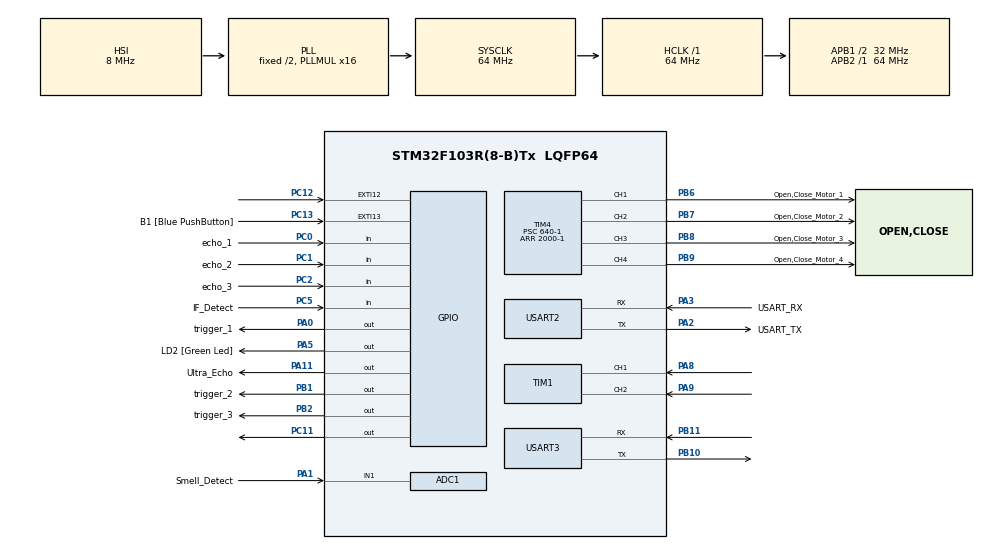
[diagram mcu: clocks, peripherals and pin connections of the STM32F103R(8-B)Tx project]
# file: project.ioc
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ADC1.Channel-0\#ChannelRegularConversion=ADC_CHANNEL_1
ADC1.NbrOfConversionFlag=1
ADC1.Rank-0\#ChannelRegularConversion=1
ADC1.SamplingTime-0\#ChannelRegularConversion=ADC_SAMPLETIME_1CYCLE_5
ADC1.master=1
Mcu.Family=STM32F1
Mcu.Name=STM32F103R(8-B)Tx
Mcu.Package=LQFP64
NVIC.EXTI15_10_IRQn=true\:0\:0\:false\:false\:true\:true\:true\:true
NVIC.PriorityGroup=NVIC_PRIORITYGROUP_4
NVIC.TIM2_IRQn=true\:0\:0\:false\:false\:true\:true\:true\:true
NVIC.TIM3_IRQn=true\:0\:0\:false\:false\:true\:true\:true\:true
NVIC.TIM4_IRQn=true\:0\:0\:false\:false\:true\:true\:true\:true
NVIC.USART2_IRQn=true\:0\:0\:false\:false\:true\:true\:true\:true
NVIC.USART3_IRQn=true\:0\:0\:false\:false\:true\:true\:true\:true
PA0-WKUP.GPIO_Label=trigger_1
PA0-WKUP.Signal=GPIO_Output
PA1.GPIO_Label=Smell_Detect
PA1.Signal=ADCx_IN1
PA11.GPIO_Label=Ultra_Echo
PA11.Signal=GPIO_Output
PA13.GPIO_Label=TMS
PA13.Mode=Serial_Wire
PA13.Signal=SYS_JTMS-SWDIO
PA14.GPIO_Label=TCK
PA14.Mode=Serial_Wire
PA14.Signal=SYS_JTCK-SWCLK
PA2.GPIO_Label=USART_TX
PA2.GPIO_Mode=GPIO_MODE_AF_PP
PA2.GPIO_PuPd=GPIO_NOPULL
PA2.GPIO_Speed=GPIO_SPEED_FREQ_LOW
PA2.Mode=Asynchronous
PA2.Signal=USART2_TX
PA3.GPIO_Label=USART_RX
PA3.GPIO_Mode=GPIO_MODE_AF_PP
PA3.GPIO_PuPd=GPIO_NOPULL
PA3.GPIO_Speed=GPIO_SPEED_FREQ_LOW
PA3.Mode=Asynchronous
PA3.Signal=USART2_RX
PA5.GPIO_Label=LD2 [Green Led]
PA5.GPIO_ModeDefaultOutputPP=GPIO_MODE_OUTPUT_PP
PA5.GPIO_PuPd=GPIO_NOPULL
PA5.GPIO_Speed=GPIO_SPEED_FREQ_LOW
PA5.Signal=GPIO_Output
PA8.Signal=S_TIM1_CH1
PA9.Signal=S_TIM1_CH2
PB1.GPIO_Label=trigger_2
PB1.Signal=GPIO_Output
PB10.Mode=Asynchronous
PB10.Signal=USART3_TX
PB11.Mode=Asynchronous
PB11.Signal=USART3_RX
PB2.GPIO_Label=trigger_3
PB2.Signal=GPIO_Output
PB3.GPIO_Label=SWO
PB3.Signal=SYS_JTDO-TRACESWO
PB6.GPIO_Label=Open,Close_Motor_1
PB6.Signal=S_TIM4_CH1
PB7.GPIO_Label=Open,Close_Motor_2
PB7.Signal=S_TIM4_CH2
PB8.GPIO_Label=Open,Close_Motor_3
PB8.Signal=S_TIM4_CH3
PB9.GPIO_Label=Open,Close_Motor_4
PB9.Signal=S_TIM4_CH4
PC0.GPIO_Label=echo_1
PC0.Signal=GPIO_Input
PC1.GPIO_Label=echo_2
PC1.Signal=GPIO_Input
PC11.Signal=GPIO_Output
PC12.GPIO_ModeDefaultEXTI=GPIO_MODE_IT_RISING_FALLING
PC12.Signal=GPXTI12
PC13-TAMPER-RTC.GPIO_Label=B1 [Blue PushButton]
PC13-TAMPER-RTC.GPIO_PuPd=GPIO_NOPULL
PC13-TAMPER-RTC.Signal=GPXTI13
PC14-OSC32_IN.Mode=LSE-External-Oscillator
PC14-OSC32_IN.Signal=RCC_OSC32_IN
PC15-OSC32_OUT.Mode=LSE-External-Oscillator
PC15-OSC32_OUT.Signal=RCC_OSC32_OUT
PC2.GPIO_Label=echo_3
PC2.Signal=GPIO_Input
PC5.GPIO_Label=IF_Detect
PC5.Signal=GPIO_Input
PD0-OSC_IN.Mode=HSE-External-Clock-Source
PD0-OSC_IN.Signal=RCC_OSC_IN
PD1-OSC_OUT.Mode=HSE-External-Clock-Source
PD1-OSC_OUT.Signal=RCC_OSC_OUT
ProjectManager.HeapSize=0x200
ProjectManager.StackSize=0x400
ProjectManager.TargetToolchain=STM32CubeIDE
RCC.ADCPresc=RCC_ADCPCLK2_DIV6
RCC.AHBFreq_Value=64000000
RCC.APB1CLKDivider=RCC_HCLK_DIV2
RCC.APB1Freq_Value=32000000
RCC.APB1TimFreq_Value=64000000
RCC.APB2Freq_Value=64000000
RCC.APB2TimFreq_Value=64000000
RCC.HCLKFreq_Value=64000000
RCC.PLLMUL=RCC_PLL_MUL16
RCC.RTCClockSelection=RCC_RTCCLKSOURCE_LSE
RCC.SYSCLKFreq_VALUE=64000000
RCC.SYSCLKSource=RCC_SYSCLKSOURCE_PLLCLK
RCC.USBFreq_Value=64000000
SH.ADCx_IN1.0=ADC1_IN1,IN1
SH.S_TIM1_CH1.0=TIM1_CH1,Input_Capture1_from_TI1
SH.S_TIM1_CH2.0=TIM1_CH2,Input_Capture2_from_TI2
SH.S_TIM4_CH1.0=TIM4_CH1,PWM Generation1 CH1
SH.S_TIM4_CH2.0=TIM4_CH2,PWM Generation2 CH2
SH.S_TIM4_CH3.0=TIM4_CH3,PWM Generation3 CH3
SH.S_TIM4_CH4.0=TIM4_CH4,PWM Generation4 CH4
TIM1.Channel-Input_Capture1_from_TI1=TIM_CHANNEL_1
TIM1.Channel-Input_Capture2_from_TI2=TIM_CHANNEL_2
TIM2.Period=1
TIM2.Prescaler=64
TIM3.Period=25
TIM3.Prescaler=64-1
TIM4.Channel-PWM\ Generation1\ CH1=TIM_CHANNEL_1
TIM4.Channel-PWM\ Generation2\ CH2=TIM_CHANNEL_2
TIM4.Channel-PWM\ Generation3\ CH3=TIM_CHANNEL_3
TIM4.Channel-PWM\ Generation4\ CH4=TIM_CHANNEL_4
TIM4.Period=2000-1
TIM4.Prescaler=640-1
TIM4.Pulse-PWM\ Generation1\ CH1=500-1
TIM4.Pulse-PWM\ Generation2\ CH2=500-1
TIM4.Pulse-PWM\ Generation3\ CH3=500-1
TIM4.Pulse-PWM\ Generation4\ CH4=500-1
USART2.VirtualMode=VM_ASYNC
USART3.VirtualMode=VM_ASYNC
VP_TIM2_VS_ClockSourceINT.Mode=Internal
VP_TIM3_VS_ClockSourceINT.Mode=Internal
board=NUCLEO-F103RB

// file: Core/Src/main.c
/* USER CODE BEGIN Header */
/**
  ******************************************************************************
  * @file           : main.c
  * @brief          : Main program body
  ******************************************************************************
  * @attention
  *
  * Copyright (c) 2022 STMicroelectronics.
  * All rights reserved.
  *
  * This software is licensed under terms that can be found in the LICENSE file
  * in the root directory of this software component.
  * If no LICENSE file comes with this software, it is provided AS-IS.
  *
  ******************************************************************************
  */
/* USER CODE END Header */
#include "main.h"

/* USER CODE BEGIN Includes */

#include "UartRingbuffer_multi.h"
#include "stdio.h"
#include "ESP8266_HAL.h"
#include "string.h"

#define INIT          0
#define SEND_TRIG     1
#define WAIT_TRIG_END 2
#define WAIT_ECHO_END 3
#define CALC_DIST     4

#ifdef __GNUC__
/* With GCC/RAISONANCE, small printf (option LD Linker->Libraries->Small printf set to 'Yes') calls __io_putchar() */
#define PUTCHAR_PROTOTYPE int __io_putchar(int ch)
#else
#define PUTCHAR_PROTOTYPE int fputc(int ch, FILE *f)
#endif /* __GNUC__ */

typedef struct ts_rxType{
	char start;
	unsigned char data;
	char parity;
	char stop;
	char error;
} rxType;

typedef struct UltraSonicObject{

}UltSonic;

/* USER CODE END Includes */

ADC_HandleTypeDef hadc1;

TIM_HandleTypeDef htim1;
TIM_HandleTypeDef htim2;
TIM_HandleTypeDef htim3;
TIM_HandleTypeDef htim4;

UART_HandleTypeDef huart2;
UART_HandleTypeDef huart3;

/* USER CODE BEGIN PV */
uint8_t curr_state, next_state;
uint8_t trig_pulse_end, echo_pulse_end;
//ultra1
char Uart_Tx_Parity_Mode;
int tim2_cnt;
char tim2_flag;
char tim2_trigger;
char chUartTxData[32];

char Uart_Rx_Parity_Mode;
rxType rxData[32];
int rxByte_cnt;
int rxBit_cnt;
int rxBit_value;
int rxSamp_cnt;
int rxParity_bit;
char Uart_Rx_flag;
char Uart_Rx_active;
char Uart_Rx_Temp;
char Uart_Rx_trigger;
char Uart_Rx_data;
char Uart_Rx_parity;
char Uart_Rx_stop;

int globalCounter = 0;

int soundModuleCounter = 0;
short isSoundModuleActive = 0;

/* USER CODE END PV */

void SystemClock_Config(void);
static void MX_GPIO_Init(void);
static void MX_USART2_UART_Init(void);
static void MX_ADC1_Init(void);
static void MX_TIM2_Init(void);
static void MX_TIM3_Init(void);
static void MX_TIM4_Init(void);
static void MX_TIM1_Init(void);
static void MX_USART3_UART_Init(void);

/* USER CODE BEGIN 0 */
PUTCHAR_PROTOTYPE//use printf in usart2
{
	/* Place your implementation of fputc here */
	/* e.g. write a character to the USART2 and Loop until the end of transmission */
	HAL_UART_Transmit(&huart2, (uint8_t *)&ch, 1, 0xFFFF);
	return ch;
}

void Uart_Tx_Byte(char TxData, char Parity)
{
	char chExit = 'n';
	char chComp = 0x01;
	int ParityBit_cnt = 0;

	tim2_cnt = 0;
	tim2_flag = 'y';
	tim2_trigger = 'n';

	while(1){
		if(('y' == tim2_trigger) && (tim2_cnt == 1))
		{ // idle
			tim2_trigger = 'n';
			HAL_GPIO_WritePin(GPIOA, GPIO_PIN_0, GPIO_PIN_SET);
		}
		else if(('y' == tim2_trigger) && (tim2_cnt == 2))
		{ // start
			tim2_trigger = 'n';
			HAL_GPIO_WritePin(GPIOA, GPIO_PIN_0, GPIO_PIN_RESET);
		}
		else if(('y' == tim2_trigger) && (tim2_cnt == 3))
		{ // bit 0
			tim2_trigger = 'n';
			if((TxData & chComp) == chComp)
			{
				HAL_GPIO_WritePin(GPIOA, GPIO_PIN_0, GPIO_PIN_SET);
				ParityBit_cnt += 1;
			}
			else
			{
				HAL_GPIO_WritePin(GPIOA, GPIO_PIN_0, GPIO_PIN_RESET);
			}
			chComp <<= 1;
		}
		else if(('y' == tim2_trigger) && (tim2_cnt == 4))
		{ // bit 1
			tim2_trigger = 'n';
			if((TxData & chComp) == chComp)
			{
				HAL_GPIO_WritePin(GPIOA, GPIO_PIN_0, GPIO_PIN_SET);
				ParityBit_cnt += 1;
			}
			else
			{
				HAL_GPIO_WritePin(GPIOA, GPIO_PIN_0, GPIO_PIN_RESET);
			}
			chComp <<= 1;
		}
		else if(('y' == tim2_trigger) && (tim2_cnt == 5))
		{ // bit 2
			tim2_trigger = 'n';
			if((TxData & chComp) == chComp)
			{
				HAL_GPIO_WritePin(GPIOA, GPIO_PIN_0, GPIO_PIN_SET);
				ParityBit_cnt += 1;
			}
			else
			{
				HAL_GPIO_WritePin(GPIOA, GPIO_PIN_0, GPIO_PIN_RESET);
			}
			chComp <<= 1;
		}
		else if(('y' == tim2_trigger) && (tim2_cnt == 6)){ // bit 3
			tim2_trigger = 'n';
			if((TxData & chComp) == chComp)
			{
				HAL_GPIO_WritePin(GPIOA, GPIO_PIN_0, GPIO_PIN_SET);
				ParityBit_cnt += 1;
			}
			else
			{
				HAL_GPIO_WritePin(GPIOA, GPIO_PIN_0, GPIO_PIN_RESET);
			}
			chComp <<= 1;
		}
		else if(('y' == tim2_trigger) && (tim2_cnt == 7))
		{ // bit 4
			tim2_trigger = 'n';
			if((TxData & chComp) == chComp)
			{
				HAL_GPIO_WritePin(GPIOA, GPIO_PIN_0, GPIO_PIN_SET);
				ParityBit_cnt += 1;
			}
			else
			{
				HAL_GPIO_WritePin(GPIOA, GPIO_PIN_0, GPIO_PIN_RESET);
			}
			chComp <<= 1;
		}
		else if(('y' == tim2_trigger) && (tim2_cnt == 8))
		{ // bit 5
			tim2_trigger = 'n';
			if((TxData & chComp) == chComp)
			{
				HAL_GPIO_WritePin(GPIOA, GPIO_PIN_0, GPIO_PIN_SET);
				ParityBit_cnt += 1;
			}
			else
			{
				HAL_GPIO_WritePin(GPIOA, GPIO_PIN_0, GPIO_PIN_RESET);
			}
			chComp <<= 1;
		}
		else if(('y' == tim2_trigger) && (tim2_cnt == 9))
		{ // bit 6
			tim2_trigger = 'n';
			if((TxData & chComp) == chComp)
			{
				HAL_GPIO_WritePin(GPIOA, GPIO_PIN_0, GPIO_PIN_SET);
				ParityBit_cnt += 1;
			}
			else
			{
				HAL_GPIO_WritePin(GPIOA, GPIO_PIN_0, GPIO_PIN_RESET);
			}
			chComp <<= 1;
		}
		else if(('y' == tim2_trigger) && (tim2_cnt == 10))
		{ // bit 7
			tim2_trigger = 'n';
			if((TxData & chComp) == chComp)
			{
				HAL_GPIO_WritePin(GPIOA, GPIO_PIN_0, GPIO_PIN_SET);
				ParityBit_cnt += 1;
			}
			else
			{
				HAL_GPIO_WritePin(GPIOA, GPIO_PIN_0, GPIO_PIN_RESET);
			}
			chComp <<= 1;
		}
		else if(('y' == tim2_trigger) && (tim2_cnt == 11))
		{ // [parity : none/even/odd] or [stop]
			tim2_trigger = 'n';
			if(Parity == 'n')
			{
				HAL_GPIO_WritePin(GPIOA, GPIO_PIN_0, GPIO_PIN_SET);
				chExit = 'y';
			}
			else if(Parity == 'e')
			{
				if((ParityBit_cnt % 2) == 0)
				{
					HAL_GPIO_WritePin(GPIOA, GPIO_PIN_0, GPIO_PIN_RESET);
				}
				else
				{
					HAL_GPIO_WritePin(GPIOA, GPIO_PIN_0, GPIO_PIN_SET);
				}
			}
			else if(Parity == 'o')
			{
				if((ParityBit_cnt % 2) == 1)
				{
					HAL_GPIO_WritePin(GPIOA, GPIO_PIN_0, GPIO_PIN_RESET);
				}
				else
				{
					HAL_GPIO_WritePin(GPIOA, GPIO_PIN_0, GPIO_PIN_SET);
				}
			}
		}
		else if(('y' == tim2_trigger) && (tim2_cnt == 12))
		{
			HAL_GPIO_WritePin(GPIOA, GPIO_PIN_0, GPIO_PIN_SET);
			chExit = 'y';
		}
		if(('y' == tim2_trigger) && ('y' == chExit))
		{
			tim2_trigger = 'n';
			tim2_flag = 'n';
			break;
		}
	}
}

void SendUltSonicCMD(char TxData, char Parity, GPIO_TypeDef PinBase, uint16_t PinNumber){

}

void HAL_TIM_PeriodElapsedCallback(TIM_HandleTypeDef *htim)
{

	if(htim->Instance == htim2.Instance){

		if(isSoundModuleActive){
			soundModuleCounter++;
		}
	}

	if(htim->Instance == htim3.Instance)
	{
		if('y' == tim2_flag)
		{
			globalCounter = globalCounter + 1;
			if(globalCounter >= 4)
			{
				tim2_cnt += 1;
				tim2_trigger = 'y';
				globalCounter = 0;
			}
			HAL_GPIO_TogglePin(GPIOA, GPIO_PIN_5);
		}
		if('y' == Uart_Rx_flag)
		{
			if('n' == Uart_Rx_active)
			{
				Uart_Rx_Temp <<= 1;
				if(GPIO_PIN_SET == HAL_GPIO_ReadPin(GPIOC, GPIO_PIN_0))
				{
					Uart_Rx_Temp += 1;
				}
				if((Uart_Rx_Temp & 0x0f) == 0x0c)
				{
					Uart_Rx_active = 'y';
					Uart_Rx_Temp = 0x00;
					rxByte_cnt += 1;
					rxData[rxByte_cnt].start = 'y';
					rxData[rxByte_cnt].data = 0x00;
					rxData[rxByte_cnt].parity = 'n';
					rxData[rxByte_cnt].stop = 'x';
					rxBit_cnt = 0;
					rxSamp_cnt = 0;
					rxParity_bit = 0;
					Uart_Rx_trigger = 'n';
					Uart_Rx_data = 'n';
					Uart_Rx_parity = 'n';
					Uart_Rx_stop = 'n';
				}
			}else{
				Uart_Rx_trigger = 'n';
				rxSamp_cnt += 1;
				if((rxSamp_cnt % 4) == 0){
					Uart_Rx_trigger = 'y';
					if(GPIO_PIN_SET == HAL_GPIO_ReadPin(GPIOC, GPIO_PIN_0)){
						rxBit_value = 1;
					}else{
						rxBit_value = 0;
					}
					rxBit_cnt += 1;
					if((1 <= rxBit_cnt) && (rxBit_cnt <= 8)){
						Uart_Rx_data = 'y';
					}else if(9 == rxBit_cnt){
						Uart_Rx_data = 'n';
						if('n' == Uart_Rx_Parity_Mode){
							Uart_Rx_parity = 'n';
							Uart_Rx_stop = 'y';
						}else if('e' == Uart_Rx_Parity_Mode){
							Uart_Rx_parity = 'y';
						}else if('o' == Uart_Rx_Parity_Mode){
							Uart_Rx_parity = 'y';
						}
					}else if(10 == rxBit_cnt){
						Uart_Rx_parity = 'n';
						Uart_Rx_stop = 'y';
					}
				}
				if(('y' == Uart_Rx_trigger) && ('y' == Uart_Rx_data)){
					rxData[rxByte_cnt].data >>= 1;
					if(1 == rxBit_value){
						rxData[rxByte_cnt].data += 0x80;
						rxParity_bit += 1;
					}
				}
				if(('y' == Uart_Rx_trigger) && ('y' == Uart_Rx_parity)){
					if('e' == Uart_Rx_Parity_Mode){
						if(((rxParity_bit % 2) == 0) && (0 == rxBit_value)){
							rxData[rxByte_cnt].parity = 'e';
						}else if(((rxParity_bit % 2) == 1) && (1 == rxBit_value)){
							rxData[rxByte_cnt].parity = 'e';
						}else{
							rxData[rxByte_cnt].parity = 'f';
						}
					}else if('o' == Uart_Rx_Parity_Mode){
						if(((rxParity_bit % 2) == 0) && (1 == rxBit_value)){
							rxData[rxByte_cnt].parity = 'o';

						}else if(((rxParity_bit % 2) == 1) && (0 == rxBit_value)){
							rxData[rxByte_cnt].parity = 'o';
						}else{
							rxData[rxByte_cnt].parity = 'f';
						}
					}
				}
				if(('y' == Uart_Rx_trigger) && ('y' == Uart_Rx_stop)){
					Uart_Rx_active = 'n';
					if(1 == rxBit_value){
						rxData[rxByte_cnt].stop = 'y';
					}else{
						rxData[rxByte_cnt].stop = 'n';
					}
				}
			}
		}
	}
}

void HAL_GPIO_EXTI_Callback(uint16_t GPIO_PIN){
	if(GPIO_PIN == GPIO_PIN_12){
		if(HAL_GPIO_ReadPin(GPIOC, GPIO_PIN_12)){
			isSoundModuleActive = 1;
		}else{
			isSoundModuleActive = 0;

			printf("Test Length : %d\r\n", soundModuleCounter);
			scanIF(soundModuleCounter);
			soundModuleCounter = 0;
		}
	}
}

void runUS100(void){
	printf("running US-100\r\n");

	HAL_GPIO_WritePin(GPIOC, GPIO_PIN_11, GPIO_PIN_SET);
	HAL_Delay(1);
	HAL_GPIO_WritePin(GPIOC, GPIO_PIN_11, GPIO_PIN_RESET);
}

/* USER CODE END 0 */

int main(void)
{
  /* USER CODE BEGIN 1 */
	  int count;
	  int smell;
	  int resultDistance;
	  int resultDistance2;
	  int resultDistance3;

	HAL_StatusTypeDef tim3_it_start;
	HAL_StatusTypeDef tim2_it_start;

  /* USER CODE END 1 */

  /* MCU Configuration--------------------------------------------------------*/

  /* Reset of all peripherals, Initializes the Flash interface and the Systick. */
  HAL_Init();

  /* Configure the system clock */
  SystemClock_Config();

  /* Initialize all configured peripherals */
  MX_GPIO_Init();
  MX_USART2_UART_Init();
  MX_ADC1_Init();
  MX_TIM2_Init();
  MX_TIM3_Init();
  MX_TIM4_Init();
  MX_TIM1_Init();
  MX_USART3_UART_Init();
  /* USER CODE BEGIN 2 */

	ESP_Init("wifiSSID","wifiPassword");

  Uart_Rx_Parity_Mode = 'n'; // 'n':none, 'e':even, 'o':odd
  rxByte_cnt = 0;
  rxBit_cnt = 0;
  rxSamp_cnt = 0;
  Uart_Rx_flag = 'n';
  Uart_Rx_active = 'n';
  Uart_Rx_Temp = 0x00;

  Uart_Tx_Parity_Mode = 'n'; // 'n':none, 'e':even, 'o':odd
  tim2_cnt = 0;
  tim2_flag = 'n';
  tim2_trigger = 'n';

  HAL_GPIO_WritePin(GPIOA, GPIO_PIN_0, GPIO_PIN_SET);

  tim3_it_start = HAL_TIM_Base_Start_IT(&htim3);
  tim2_it_start = HAL_TIM_Base_Start_IT(&htim2);

  if((HAL_OK == tim3_it_start) && (HAL_OK == tim2_it_start))
  {
	  printf("HAL_TIM_Base_Start_IT OK\r\n");
  }
  else
  {
	  printf("HAL_TIM_Base_Start_IT error\r\n");
  }
  chUartTxData[0] = 'a';
  Uart_Rx_flag = 'y';
  Uart_Rx_active = 'n';

  HAL_TIM_PWM_Start(&htim4,TIM_CHANNEL_1);
  HAL_TIM_PWM_Start(&htim4,TIM_CHANNEL_2);
  HAL_TIM_PWM_Start(&htim4,TIM_CHANNEL_3);
  HAL_TIM_PWM_Start(&htim4,TIM_CHANNEL_4);

	HAL_GPIO_WritePin(GPIOC, GPIO_PIN_11, GPIO_PIN_RESET);
	HAL_GPIO_WritePin(GPIOC, GPIO_PIN_12, GPIO_PIN_RESET);

  /* USER CODE END 2 */

  /* Infinite loop */
  while (1)
  {

    /* USER CODE BEGIN 3 */

		scanTrashcan();
		runUS100();

	  HAL_Delay(100);
	  Uart_Tx_Byte(0x55, 'n');
	  if(('n' == Uart_Rx_active) && (1 <= rxByte_cnt))
	  {
		  resultDistance = (rxData[1].data << 8) + rxData[2].data;
		  printf("resultDistance : %d mm\r\n", resultDistance);
		  rxByte_cnt = 0;
	  }
	  HAL_Delay(100);

	  HAL_ADC_Start(&hadc1);

	  if(resultDistance <= 500)//auto_open,close
	  {
		    __HAL_TIM_SetCompare(&htim4, TIM_CHANNEL_2, 50);//open_motor 2(PB7)
			__HAL_TIM_SetCompare(&htim4, TIM_CHANNEL_1, 200);//open_motor 1(PB6)
			HAL_Delay(3000);
		    __HAL_TIM_SetCompare(&htim4, TIM_CHANNEL_2, 200);//open_motor 2(PB7)
		    __HAL_TIM_SetCompare(&htim4, TIM_CHANNEL_1, 50);//open_motor 1(PB6)
		    HAL_Delay(3000);
	  }

	  /*
	  if (HAL_ADC_PollForConversion(&hadc1, 100) == HAL_OK)
	  {
		  smell = HAL_ADC_GetValue(&hadc1) / 4;
		  printf("smell = %d\r\n", (int)smell);
		  HAL_Delay(1000);
		  if(smell >= 150)
		  {
			  count++;
		  }
		  if(smell <= 100)
		  {
			  count = 0;
		  }
	  }
	  if(smell >= 150 && count == 10)//motor active and spread!
	  {
		  __HAL_TIM_SetCompare(&htim4, TIM_CHANNEL_3, 100);
		  __HAL_TIM_SetCompare(&htim4, TIM_CHANNEL_4, 200);
		  HAL_Delay(2000);
		  __HAL_TIM_SetCompare(&htim4, TIM_CHANNEL_3, 200);
		  __HAL_TIM_SetCompare(&htim4, TIM_CHANNEL_4, 100);
		  HAL_Delay(2000);
		  count = 0;
	  }
	  */

    /* USER CODE END WHILE */

    /* USER CODE BEGIN 3 */
  }
  /* USER CODE END 3 */
}

void SystemClock_Config(void)
{
  RCC_OscInitTypeDef RCC_OscInitStruct = {0};
  RCC_ClkInitTypeDef RCC_ClkInitStruct = {0};
  RCC_PeriphCLKInitTypeDef PeriphClkInit = {0};

  /** Initializes the RCC Oscillators according to the specified parameters
  * in the RCC_OscInitTypeDef structure.
  */
  RCC_OscInitStruct.OscillatorType = RCC_OSCILLATORTYPE_HSI;
  RCC_OscInitStruct.HSIState = RCC_HSI_ON;
  RCC_OscInitStruct.HSICalibrationValue = RCC_HSICALIBRATION_DEFAULT;
  RCC_OscInitStruct.PLL.PLLState = RCC_PLL_ON;
  RCC_OscInitStruct.PLL.PLLSource = RCC_PLLSOURCE_HSI_DIV2;
  RCC_OscInitStruct.PLL.PLLMUL = RCC_PLL_MUL16;
  if (HAL_RCC_OscConfig(&RCC_OscInitStruct) != HAL_OK)
  {
    Error_Handler();
  }
  /** Initializes the CPU, AHB and APB buses clocks
  */
  RCC_ClkInitStruct.ClockType = RCC_CLOCKTYPE_HCLK|RCC_CLOCKTYPE_SYSCLK
                              |RCC_CLOCKTYPE_PCLK1|RCC_CLOCKTYPE_PCLK2;
  RCC_ClkInitStruct.SYSCLKSource = RCC_SYSCLKSOURCE_PLLCLK;
  RCC_ClkInitStruct.AHBCLKDivider = RCC_SYSCLK_DIV1;
  RCC_ClkInitStruct.APB1CLKDivider = RCC_HCLK_DIV2;
  RCC_ClkInitStruct.APB2CLKDivider = RCC_HCLK_DIV1;

  if (HAL_RCC_ClockConfig(&RCC_ClkInitStruct, FLASH_LATENCY_2) != HAL_OK)
  {
    Error_Handler();
  }
  PeriphClkInit.PeriphClockSelection = RCC_PERIPHCLK_ADC;
  PeriphClkInit.AdcClockSelection = RCC_ADCPCLK2_DIV6;
  if (HAL_RCCEx_PeriphCLKConfig(&PeriphClkInit) != HAL_OK)
  {
    Error_Handler();
  }
}

static void MX_ADC1_Init(void)
{

  ADC_ChannelConfTypeDef sConfig = {0};

  /** Common config
  */
  hadc1.Instance = ADC1;
  hadc1.Init.ScanConvMode = ADC_SCAN_DISABLE;
  hadc1.Init.ContinuousConvMode = DISABLE;
  hadc1.Init.DiscontinuousConvMode = DISABLE;
  hadc1.Init.ExternalTrigConv = ADC_SOFTWARE_START;
  hadc1.Init.DataAlign = ADC_DATAALIGN_RIGHT;
  hadc1.Init.NbrOfConversion = 1;
  if (HAL_ADC_Init(&hadc1) != HAL_OK)
  {
    Error_Handler();
  }
  /** Configure Regular Channel
  */
  sConfig.Channel = ADC_CHANNEL_1;
  sConfig.Rank = ADC_REGULAR_RANK_1;
  sConfig.SamplingTime = ADC_SAMPLETIME_1CYCLE_5;
  if (HAL_ADC_ConfigChannel(&hadc1, &sConfig) != HAL_OK)
  {
    Error_Handler();
  }

}

static void MX_TIM1_Init(void)
{

  TIM_MasterConfigTypeDef sMasterConfig = {0};
  TIM_IC_InitTypeDef sConfigIC = {0};

  htim1.Instance = TIM1;
  htim1.Init.Prescaler = 0;
  htim1.Init.CounterMode = TIM_COUNTERMODE_UP;
  htim1.Init.Period = 65535;
  htim1.Init.ClockDivision = TIM_CLOCKDIVISION_DIV1;
  htim1.Init.RepetitionCounter = 0;
  htim1.Init.AutoReloadPreload = TIM_AUTORELOAD_PRELOAD_DISABLE;
  if (HAL_TIM_IC_Init(&htim1) != HAL_OK)
  {
    Error_Handler();
  }
  sMasterConfig.MasterOutputTrigger = TIM_TRGO_RESET;
  sMasterConfig.MasterSlaveMode = TIM_MASTERSLAVEMODE_DISABLE;
  if (HAL_TIMEx_MasterConfigSynchronization(&htim1, &sMasterConfig) != HAL_OK)
  {
    Error_Handler();
  }
  sConfigIC.ICPolarity = TIM_INPUTCHANNELPOLARITY_RISING;
  sConfigIC.ICSelection = TIM_ICSELECTION_DIRECTTI;
  sConfigIC.ICPrescaler = TIM_ICPSC_DIV1;
  sConfigIC.ICFilter = 0;
  if (HAL_TIM_IC_ConfigChannel(&htim1, &sConfigIC, TIM_CHANNEL_1) != HAL_OK)
  {
    Error_Handler();
  }
  if (HAL_TIM_IC_ConfigChannel(&htim1, &sConfigIC, TIM_CHANNEL_2) != HAL_OK)
  {
    Error_Handler();
  }

}

static void MX_TIM2_Init(void)
{

  TIM_ClockConfigTypeDef sClockSourceConfig = {0};
  TIM_MasterConfigTypeDef sMasterConfig = {0};

  htim2.Instance = TIM2;
  htim2.Init.Prescaler = 64;
  htim2.Init.CounterMode = TIM_COUNTERMODE_UP;
  htim2.Init.Period = 1;
  htim2.Init.ClockDivision = TIM_CLOCKDIVISION_DIV1;
  htim2.Init.AutoReloadPreload = TIM_AUTORELOAD_PRELOAD_DISABLE;
  if (HAL_TIM_Base_Init(&htim2) != HAL_OK)
  {
    Error_Handler();
  }
  sClockSourceConfig.ClockSource = TIM_CLOCKSOURCE_INTERNAL;
  if (HAL_TIM_ConfigClockSource(&htim2, &sClockSourceConfig) != HAL_OK)
  {
    Error_Handler();
  }
  sMasterConfig.MasterOutputTrigger = TIM_TRGO_RESET;
  sMasterConfig.MasterSlaveMode = TIM_MASTERSLAVEMODE_DISABLE;
  if (HAL_TIMEx_MasterConfigSynchronization(&htim2, &sMasterConfig) != HAL_OK)
  {
    Error_Handler();
  }

}

static void MX_TIM3_Init(void)
{

  TIM_ClockConfigTypeDef sClockSourceConfig = {0};
  TIM_MasterConfigTypeDef sMasterConfig = {0};

  htim3.Instance = TIM3;
  htim3.Init.Prescaler = 64-1;
  htim3.Init.CounterMode = TIM_COUNTERMODE_UP;
  htim3.Init.Period = 25;
  htim3.Init.ClockDivision = TIM_CLOCKDIVISION_DIV1;
  htim3.Init.AutoReloadPreload = TIM_AUTORELOAD_PRELOAD_DISABLE;
  if (HAL_TIM_Base_Init(&htim3) != HAL_OK)
  {
    Error_Handler();
  }
  sClockSourceConfig.ClockSource = TIM_CLOCKSOURCE_INTERNAL;
  if (HAL_TIM_ConfigClockSource(&htim3, &sClockSourceConfig) != HAL_OK)
  {
    Error_Handler();
  }
  sMasterConfig.MasterOutputTrigger = TIM_TRGO_RESET;
  sMasterConfig.MasterSlaveMode = TIM_MASTERSLAVEMODE_DISABLE;
  if (HAL_TIMEx_MasterConfigSynchronization(&htim3, &sMasterConfig) != HAL_OK)
  {
    Error_Handler();
  }

}

static void MX_TIM4_Init(void)
{

  TIM_MasterConfigTypeDef sMasterConfig = {0};
  TIM_OC_InitTypeDef sConfigOC = {0};

  htim4.Instance = TIM4;
  htim4.Init.Prescaler = 640-1;
  htim4.Init.CounterMode = TIM_COUNTERMODE_UP;
  htim4.Init.Period = 2000-1;
  htim4.Init.ClockDivision = TIM_CLOCKDIVISION_DIV1;
  htim4.Init.AutoReloadPreload = TIM_AUTORELOAD_PRELOAD_DISABLE;
  if (HAL_TIM_PWM_Init(&htim4) != HAL_OK)
  {
    Error_Handler();
  }
  sMasterConfig.MasterOutputTrigger = TIM_TRGO_RESET;
  sMasterConfig.MasterSlaveMode = TIM_MASTERSLAVEMODE_DISABLE;
  if (HAL_TIMEx_MasterConfigSynchronization(&htim4, &sMasterConfig) != HAL_OK)
  {
    Error_Handler();
  }
  sConfigOC.OCMode = TIM_OCMODE_PWM1;
  sConfigOC.Pulse = 500-1;
  sConfigOC.OCPolarity = TIM_OCPOLARITY_HIGH;
  sConfigOC.OCFastMode = TIM_OCFAST_DISABLE;
  if (HAL_TIM_PWM_ConfigChannel(&htim4, &sConfigOC, TIM_CHANNEL_1) != HAL_OK)
  {
    Error_Handler();
  }
  if (HAL_TIM_PWM_ConfigChannel(&htim4, &sConfigOC, TIM_CHANNEL_2) != HAL_OK)
  {
    Error_Handler();
  }
  if (HAL_TIM_PWM_ConfigChannel(&htim4, &sConfigOC, TIM_CHANNEL_3) != HAL_OK)
  {
    Error_Handler();
  }
  if (HAL_TIM_PWM_ConfigChannel(&htim4, &sConfigOC, TIM_CHANNEL_4) != HAL_OK)
  {
    Error_Handler();
  }
  HAL_TIM_MspPostInit(&htim4);

}

static void MX_USART2_UART_Init(void)
{

  huart2.Instance = USART2;
  huart2.Init.BaudRate = 115200;
  huart2.Init.WordLength = UART_WORDLENGTH_8B;
  huart2.Init.StopBits = UART_STOPBITS_1;
  huart2.Init.Parity = UART_PARITY_NONE;
  huart2.Init.Mode = UART_MODE_TX_RX;
  huart2.Init.HwFlowCtl = UART_HWCONTROL_NONE;
  huart2.Init.OverSampling = UART_OVERSAMPLING_16;
  if (HAL_UART_Init(&huart2) != HAL_OK)
  {
    Error_Handler();
  }

}

static void MX_USART3_UART_Init(void)
{

  huart3.Instance = USART3;
  huart3.Init.BaudRate = 115200;
  huart3.Init.WordLength = UART_WORDLENGTH_8B;
  huart3.Init.StopBits = UART_STOPBITS_1;
  huart3.Init.Parity = UART_PARITY_NONE;
  huart3.Init.Mode = UART_MODE_TX_RX;
  huart3.Init.HwFlowCtl = UART_HWCONTROL_NONE;
  huart3.Init.OverSampling = UART_OVERSAMPLING_16;
  if (HAL_UART_Init(&huart3) != HAL_OK)
  {
    Error_Handler();
  }

}

static void MX_GPIO_Init(void)
{
  GPIO_InitTypeDef GPIO_InitStruct = {0};

  /* GPIO Ports Clock Enable */
  __HAL_RCC_GPIOC_CLK_ENABLE();
  __HAL_RCC_GPIOD_CLK_ENABLE();
  __HAL_RCC_GPIOA_CLK_ENABLE();
  __HAL_RCC_GPIOB_CLK_ENABLE();

  /*Configure GPIO pin Output Level */
  HAL_GPIO_WritePin(GPIOA, trigger_1_Pin|LD2_Pin|Ultra_Echo_Pin, GPIO_PIN_RESET);

  /*Configure GPIO pin Output Level */
  HAL_GPIO_WritePin(GPIOB, trigger_2_Pin|trigger_3_Pin, GPIO_PIN_RESET);

  /*Configure GPIO pin Output Level */
  HAL_GPIO_WritePin(GPIOC, GPIO_PIN_11, GPIO_PIN_RESET);

  /*Configure GPIO pin : B1_Pin */
  GPIO_InitStruct.Pin = B1_Pin;
  GPIO_InitStruct.Mode = GPIO_MODE_IT_RISING;
  GPIO_InitStruct.Pull = GPIO_NOPULL;
  HAL_GPIO_Init(B1_GPIO_Port, &GPIO_InitStruct);

  /*Configure GPIO pins : echo_1_Pin echo_2_Pin echo_3_Pin IF_Detect_Pin */
  GPIO_InitStruct.Pin = echo_1_Pin|echo_2_Pin|echo_3_Pin|IF_Detect_Pin;
  GPIO_InitStruct.Mode = GPIO_MODE_INPUT;
  GPIO_InitStruct.Pull = GPIO_NOPULL;
  HAL_GPIO_Init(GPIOC, &GPIO_InitStruct);

  /*Configure GPIO pins : trigger_1_Pin LD2_Pin Ultra_Echo_Pin */
  GPIO_InitStruct.Pin = trigger_1_Pin|LD2_Pin|Ultra_Echo_Pin;
  GPIO_InitStruct.Mode = GPIO_MODE_OUTPUT_PP;
  GPIO_InitStruct.Pull = GPIO_NOPULL;
  GPIO_InitStruct.Speed = GPIO_SPEED_FREQ_LOW;
  HAL_GPIO_Init(GPIOA, &GPIO_InitStruct);

  /*Configure GPIO pins : trigger_2_Pin trigger_3_Pin */
  GPIO_InitStruct.Pin = trigger_2_Pin|trigger_3_Pin;
  GPIO_InitStruct.Mode = GPIO_MODE_OUTPUT_PP;
  GPIO_InitStruct.Pull = GPIO_NOPULL;
  GPIO_InitStruct.Speed = GPIO_SPEED_FREQ_LOW;
  HAL_GPIO_Init(GPIOB, &GPIO_InitStruct);

  /*Configure GPIO pin : PC11 */
  GPIO_InitStruct.Pin = GPIO_PIN_11;
  GPIO_InitStruct.Mode = GPIO_MODE_OUTPUT_PP;
  GPIO_InitStruct.Pull = GPIO_NOPULL;
  GPIO_InitStruct.Speed = GPIO_SPEED_FREQ_LOW;
  HAL_GPIO_Init(GPIOC, &GPIO_InitStruct);

  /*Configure GPIO pin : PC12 */
  GPIO_InitStruct.Pin = GPIO_PIN_12;
  GPIO_InitStruct.Mode = GPIO_MODE_IT_RISING_FALLING;
  GPIO_InitStruct.Pull = GPIO_NOPULL;
  HAL_GPIO_Init(GPIOC, &GPIO_InitStruct);

  /* EXTI interrupt init*/
  HAL_NVIC_SetPriority(EXTI15_10_IRQn, 0, 0);
  HAL_NVIC_EnableIRQ(EXTI15_10_IRQn);

}

void Error_Handler(void)
{
  __disable_irq();
  while (1)
  {
  }
}
